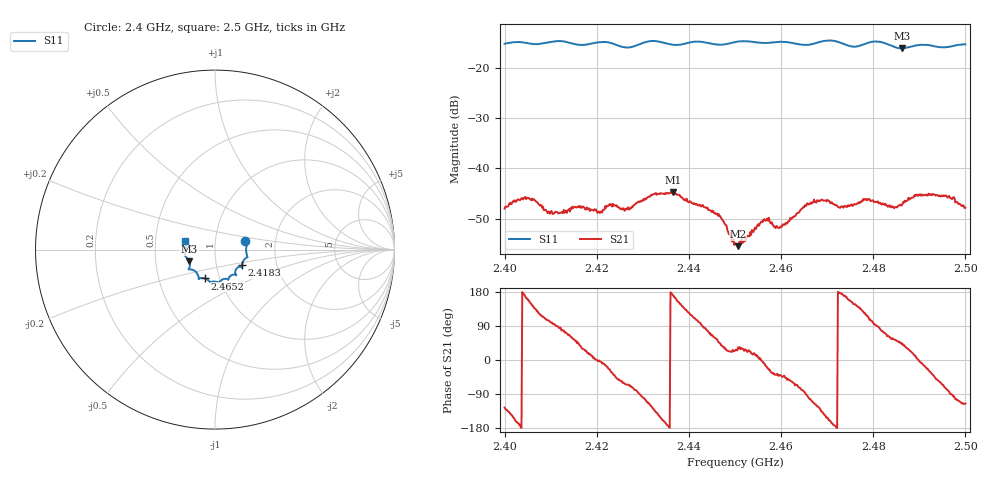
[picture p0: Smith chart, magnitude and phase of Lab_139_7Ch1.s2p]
# Hz S RI R 50
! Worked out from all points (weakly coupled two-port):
!   601 points, 2.4 GHz to 2.5 GHz, reference 50 ohm
!   highest |S21| = -44.71 dB at 2.4365 GHz (marker M1); lowest = -55.5 dB at 2.4507 GHz (marker M2)
!   lowest |S11| = -16.1 dB at 2.4862 GHz (marker M3), VSWR 1.37, Z = 37.2 - j4.89 ohm
!   |S11| at or under -10 dB: start of sweep to end of sweep
!   S12 and S22 are empty: the file has one direction only
!   S11 on the Smith chart (normalised r, x): 2.4 GHz: 1.40, +0.13; 2.4183 GHz: 1.33, -0.24; 2.4652 GHz: 0.85, -0.28; 2.5 GHz: 0.71, +0.07
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2.4e9  0.1682 0.0468  -0.00232 -0.00324  0 0  0 0
2.404667e9  0.1765 0.0214  -0.00475 0.00141  0 0  0 0
2.410333e9  0.1797 -0.0352  -0.000508 0.00355  0 0  0 0
2.416667e9  0.1555 -0.0682  0.00351 0.00227  0 0  0 0
2.418333e9  0.1501 -0.0867  0.00387 0.00106  0 0  0 0
2.4265e9  0.122 -0.1034  0.00168 -0.00361  0 0  0 0
2.433333e9  0.117 -0.1415  -0.0046 -0.00321  0 0  0 0
2.4365e9  0.0956 -0.1415  -0.00575 0.000865  0 0  0 0
2.4465e9  0.0494 -0.1635  0.0024 0.00254  0 0  0 0
2.45e9  0.0259 -0.1795  0.00163 0.000761  0 0  0 0
2.450667e9  0.0238 -0.1822  0.00141 0.000918  0 0  0 0
2.456e9  -0.000309 -0.1779  0.00291 -0.000211  0 0  0 0
2.459667e9  -0.0256 -0.1806  0.00197 -0.00163  0 0  0 0
2.465167e9  -0.0545 -0.161  0.000262 -0.0043  0 0  0 0
2.466667e9  -0.0707 -0.1577  -0.00137 -0.00425  0 0  0 0
2.473e9  -0.0915 -0.1527  -0.00415 0.000388  0 0  0 0
2.478667e9  -0.1388 -0.1102  -0.00212 0.00432  0 0  0 0
2.483333e9  -0.1413 -0.0966  0.002 0.0038  0 0  0 0
2.486167e9  -0.1433 -0.0641  0.00316 0.00288  0 0  0 0
2.4925e9  -0.1659 -0.024  0.00454 -0.00297  0 0  0 0
2.497e9  -0.1626 0.0266  -2.56e-05 -0.00498  0 0  0 0
2.5e9  -0.1655 0.0473  -0.00172 -0.00368  0 0  0 0
